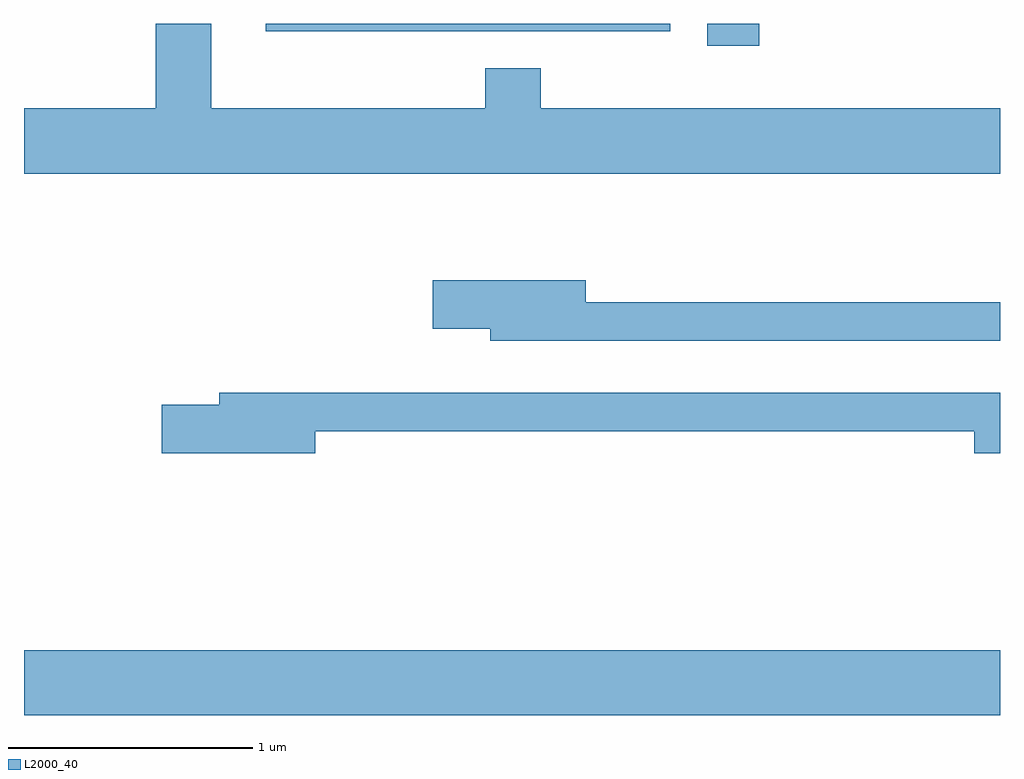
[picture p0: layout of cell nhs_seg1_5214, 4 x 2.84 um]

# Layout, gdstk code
import gdstk
lib = gdstk.Library(unit=1e-6, precision=1e-09)
def R(c, l, rs):  # rectangles x0, y0, x1, y1
    for r in rs: c.add(gdstk.rectangle(r[:2], r[2:], *l))
def P(c, l, *ps):  # polygons
    for p in ps: c.add(gdstk.Polygon(p, *l))
L2000_40 = (2000, 40)

nhs_seg1_5214 = lib.new_cell('nhs_seg1_5214')
R(nhs_seg1_5214, L2000_40, [(341.611,932.876,345.611,933.144), (344.411,935.621,344.624,935.712), (342.601,935.681,344.259,935.712)])
P(nhs_seg1_5214, L2000_40, [(345.611,935.364),(343.729,935.364),(343.729,935.529),(343.501,935.529),(343.501,935.364),(342.379,935.364),(342.379,935.712),(342.151,935.712),(342.151,935.364),(341.611,935.364),(341.611,935.096),(345.611,935.096)],
  [(345.611,934.569),(343.914,934.569),(343.914,934.659),(343.286,934.659),(343.286,934.461),(343.521,934.461),(343.521,934.411),(345.611,934.411)],
  [(342.804,934.041),(345.506,934.041),(345.506,933.951),(345.611,933.951),(345.611,934.199),(342.411,934.199),(342.411,934.149),(342.176,934.149),(342.176,933.951),(342.804,933.951)])

lib.write_gds('nhs_seg1_5214.gds')
